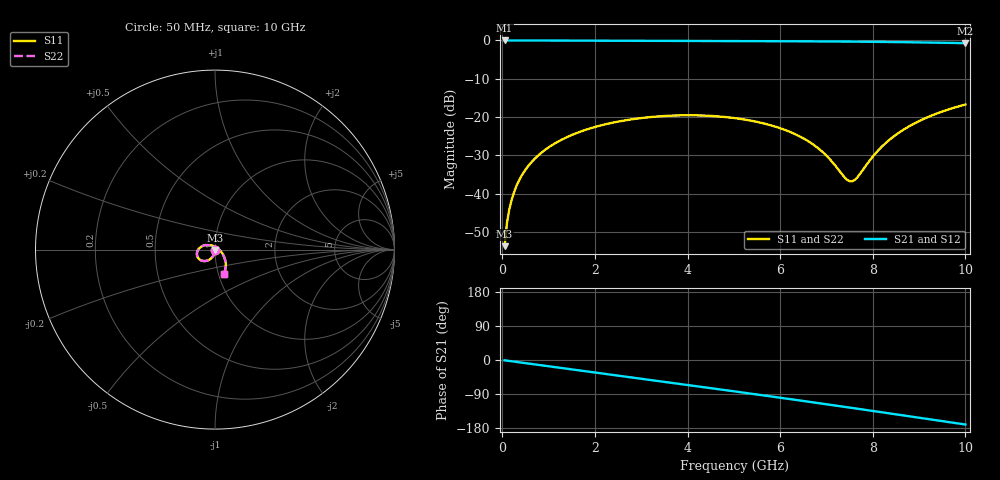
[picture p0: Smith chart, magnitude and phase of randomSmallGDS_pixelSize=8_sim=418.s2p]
! freq	dB(S11)	phase(S11)	dB(S12)	phase(S12)
!  dB(S21)	phase(S21)	dB(S22)	phase(S22)
!S-par simulation data
#  GHz  S  DB  R 50
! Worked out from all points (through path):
!   200 points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, 50 MHz to 10 GHz, reference 50 ohm
!   highest |S21| = 0.00 dB at 50 MHz (marker M1); lowest = -0.7 dB at 10 GHz (marker M2)
!   group delay of S21, straight-line fit = 47.1 ps
!   lowest |S11| = -53.8 dB at 50 MHz (marker M3), VSWR 1.00, Z = 50 - j0.205 ohm
!   |S11| at or under -10 dB: start of sweep to end of sweep
!   |S22| runs from -53.8 to -16.7 dB; largest |S21 - S12| = 0
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0.05  -53.75 -90.4  -0.00 -0.9  -0.00 -0.9  -53.75 -90.4
0.1  -47.73 -91.6  -0.00 -1.7  -0.00 -1.7  -47.73 -91.6
0.2  -41.71 -93.6  -0.01 -3.3  -0.01 -3.3  -41.71 -93.6
0.35  -36.86 -96.3  -0.01 -5.8  -0.01 -5.8  -36.86 -96.3
0.5  -33.79 -99.0  -0.01 -8.3  -0.01 -8.3  -33.79 -98.9
0.7  -30.91 -102.4  -0.02 -11.6  -0.02 -11.6  -30.91 -102.4
1  -27.93 -107.5  -0.02 -16.5  -0.02 -16.5  -27.93 -107.5
1.75  -23.55 -120.2  -0.05 -28.9  -0.05 -28.9  -23.55 -120.2
2.5  -21.20 -132.8  -0.08 -41.2  -0.08 -41.2  -21.20 -132.7
3.4  -19.82 -148.0  -0.11 -56.0  -0.11 -56.0  -19.82 -147.9
4.25  -19.59 -162.7  -0.14 -70.1  -0.14 -70.1  -19.59 -162.7
5.05  -20.34 -177.4  -0.16 -83.4  -0.16 -83.4  -20.34 -177.3
6  -22.93 163.1  -0.20 -99.5  -0.20 -99.5  -22.93 163.3
6.7  -27.07 143.6  -0.24 -111.6  -0.24 -111.6  -27.08 144.0
7.05  -30.73 126.7  -0.26 -117.7  -0.26 -117.7  -30.77 127.3
7.4  -35.88 86.5  -0.29 -123.8  -0.29 -123.8  -36.04 87.2
7.55  -36.81 53.4  -0.30 -126.4  -0.30 -126.4  -37.03 53.4
7.65  -35.99 31.1  -0.31 -128.2  -0.31 -128.2  -36.18 30.7
8.05  -29.62 -15.3  -0.36 -135.3  -0.36 -135.3  -29.67 -15.9
8.35  -26.06 -29.7  -0.40 -140.7  -0.40 -140.7  -26.08 -30.2
9.05  -20.78 -50.0  -0.51 -153.2  -0.51 -153.2  -20.79 -50.2
10  -16.74 -70.1  -0.71 -170.3  -0.71 -170.3  -16.75 -70.3
